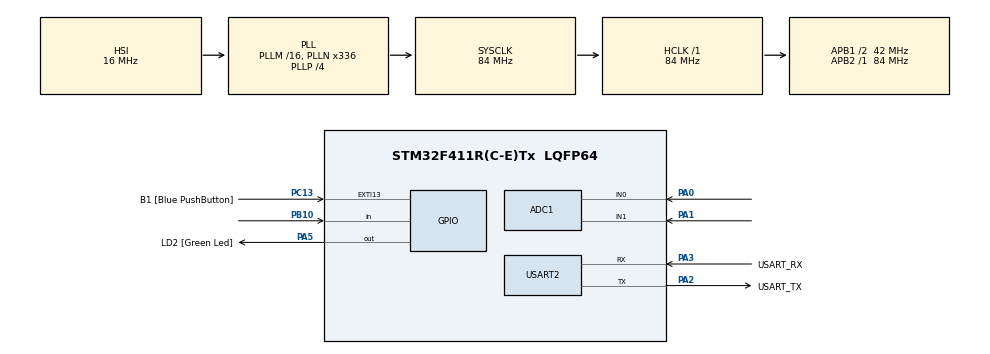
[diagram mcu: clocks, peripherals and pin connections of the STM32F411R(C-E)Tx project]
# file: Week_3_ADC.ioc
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ADC1.Channel-0\#ChannelRegularConversion=ADC_CHANNEL_1
ADC1.NbrOfConversionFlag=1
ADC1.Rank-0\#ChannelRegularConversion=1
ADC1.SamplingTime-0\#ChannelRegularConversion=ADC_SAMPLETIME_3CYCLES
ADC1.master=1
Mcu.Family=STM32F4
Mcu.Name=STM32F411R(C-E)Tx
Mcu.Package=LQFP64
NVIC.PriorityGroup=NVIC_PRIORITYGROUP_0
PA0-WKUP.Signal=ADCx_IN0
PA1.Signal=ADCx_IN1
PA13.GPIO_Label=TMS
PA13.Mode=Serial_Wire
PA13.Signal=SYS_JTMS-SWDIO
PA14.GPIO_Label=TCK
PA14.Mode=Serial_Wire
PA14.Signal=SYS_JTCK-SWCLK
PA2.GPIO_Label=USART_TX
PA2.Mode=Asynchronous
PA2.Signal=USART2_TX
PA3.GPIO_Label=USART_RX
PA3.Mode=Asynchronous
PA3.Signal=USART2_RX
PA5.GPIO_Label=LD2 [Green Led]
PA5.Signal=GPIO_Output
PB10.Signal=GPIO_Input
PB3.GPIO_Label=SWO
PB3.Signal=SYS_JTDO-SWO
PC13-ANTI_TAMP.GPIO_Label=B1 [Blue PushButton]
PC13-ANTI_TAMP.GPIO_ModeDefaultEXTI=GPIO_MODE_IT_FALLING
PC13-ANTI_TAMP.Signal=GPXTI13
PC14-OSC32_IN.Mode=LSE-External-Oscillator
PC14-OSC32_IN.Signal=RCC_OSC32_IN
PC15-OSC32_OUT.Mode=LSE-External-Oscillator
PC15-OSC32_OUT.Signal=RCC_OSC32_OUT
PH0\ -\ OSC_IN.Mode=HSE-External-Clock-Source
PH0\ -\ OSC_IN.Signal=RCC_OSC_IN
PH1\ -\ OSC_OUT.Mode=HSE-External-Clock-Source
PH1\ -\ OSC_OUT.Signal=RCC_OSC_OUT
ProjectManager.HeapSize=0x200
ProjectManager.StackSize=0x400
ProjectManager.TargetToolchain=STM32CubeIDE
RCC.48MHZClocksFreq_Value=84000000
RCC.AHBFreq_Value=84000000
RCC.APB1CLKDivider=RCC_HCLK_DIV2
RCC.APB1Freq_Value=42000000
RCC.APB1TimFreq_Value=84000000
RCC.APB2Freq_Value=84000000
RCC.APB2TimFreq_Value=84000000
RCC.CortexFreq_Value=84000000
RCC.FLatency-AdvancedSettings=FLASH_LATENCY_2
RCC.HCLKFreq_Value=84000000
RCC.HSE_VALUE=8000000
RCC.HSI_VALUE=16000000
RCC.PLLN=336
RCC.PLLP=RCC_PLLP_DIV4
RCC.SYSCLKFreq_VALUE=84000000
RCC.SYSCLKSource=RCC_SYSCLKSOURCE_PLLCLK
RCC.VCOOutputFreq_Value=336000000
SH.ADCx_IN0.0=ADC1_IN0,IN0
SH.ADCx_IN1.0=ADC1_IN1,IN1
USART2.VirtualMode=VM_ASYNC
VP_ADC1_TempSens_Input.Mode=IN-TempSens
board=NUCLEO-F411RE

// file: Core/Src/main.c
/* USER CODE BEGIN Header */
/**
 ******************************************************************************
 * @file           : main.c
 * @brief          : Main program body
 ******************************************************************************
 * @attention
 *
 * <h2><center>&copy; Copyright (c) 2021 STMicroelectronics.
 * All rights reserved.</center></h2>
 *
 * This software component is licensed by ST under BSD 3-Clause license,
 * the "License"; You may not use this file except in compliance with the
 * License. You may obtain a copy of the License at:
 *                        opensource.org/licenses/BSD-3-Clause
 *
 ******************************************************************************
 */
/* USER CODE END Header */
#include "main.h"

ADC_HandleTypeDef hadc1;

UART_HandleTypeDef huart2;

/* USER CODE BEGIN PV */
uint16_t adcdata[2] = { 0 };

typedef struct {
	ADC_ChannelConfTypeDef Config;
	uint16_t data;
} ADCStructure;

ADCStructure ADCChannel[3] = { 0 };
uint8_t ADCMode = 0;
uint8_t CheckButton[2] = {};
uint32_t TimeStamp = 0;
float ADCOutputCoverted = 0;

/* USER CODE END PV */

void SystemClock_Config(void);
static void MX_GPIO_Init(void);
static void MX_USART2_UART_Init(void);
static void MX_ADC1_Init(void);
/* USER CODE BEGIN PFP */
void ADCPollingMethodInit();
void ADCPollingMethodUpdate();
/* USER CODE END PFP */

int main(void)
{

  /* MCU Configuration--------------------------------------------------------*/

  /* Reset of all peripherals, Initializes the Flash interface and the Systick. */
  HAL_Init();

  /* Configure the system clock */
  SystemClock_Config();

  /* Initialize all configured peripherals */
  MX_GPIO_Init();
  MX_USART2_UART_Init();
  MX_ADC1_Init();
  /* USER CODE BEGIN 2 */
	ADCPollingMethodInit();

  /* USER CODE END 2 */

  /* Infinite loop */
	while (1) {

    /* USER CODE BEGIN 3 */

		ADCPollingMethodUpdate();

		if (HAL_GetTick() - TimeStamp >= 100)
		{
			TimeStamp = HAL_GetTick();
			CheckButton[0] = HAL_GPIO_ReadPin(GPIOB, GPIO_PIN_10);
			if (CheckButton[0] == 0 && CheckButton[1] == 1)
			{
				if (ADCMode == 0)
				{
					ADCMode = 1;
				}
				else if (ADCMode == 1)
				{
					ADCMode = 0;
				}
			}
			CheckButton[1] = CheckButton[0];
		}

		if (ADCMode == 0)
		{
			ADCOutputCoverted = ((ADCChannel[0].data * 3.3 * 1000.0) / 4096.0);
		}
		else if (ADCMode == 1)
		{
			ADCOutputCoverted = ((((ADCChannel[2].data * 3.3 / 4096.0) - 0.76) / 0.0025) + 25.0);
		}
	}
  /* USER CODE END 3 */
}

void SystemClock_Config(void)
{
  RCC_OscInitTypeDef RCC_OscInitStruct = {0};
  RCC_ClkInitTypeDef RCC_ClkInitStruct = {0};

  /** Configure the main internal regulator output voltage
  */
  __HAL_RCC_PWR_CLK_ENABLE();
  __HAL_PWR_VOLTAGESCALING_CONFIG(PWR_REGULATOR_VOLTAGE_SCALE1);
  /** Initializes the RCC Oscillators according to the specified parameters
  * in the RCC_OscInitTypeDef structure.
  */
  RCC_OscInitStruct.OscillatorType = RCC_OSCILLATORTYPE_HSI;
  RCC_OscInitStruct.HSIState = RCC_HSI_ON;
  RCC_OscInitStruct.HSICalibrationValue = RCC_HSICALIBRATION_DEFAULT;
  RCC_OscInitStruct.PLL.PLLState = RCC_PLL_ON;
  RCC_OscInitStruct.PLL.PLLSource = RCC_PLLSOURCE_HSI;
  RCC_OscInitStruct.PLL.PLLM = 16;
  RCC_OscInitStruct.PLL.PLLN = 336;
  RCC_OscInitStruct.PLL.PLLP = RCC_PLLP_DIV4;
  RCC_OscInitStruct.PLL.PLLQ = 4;
  if (HAL_RCC_OscConfig(&RCC_OscInitStruct) != HAL_OK)
  {
    Error_Handler();
  }
  /** Initializes the CPU, AHB and APB buses clocks
  */
  RCC_ClkInitStruct.ClockType = RCC_CLOCKTYPE_HCLK|RCC_CLOCKTYPE_SYSCLK
                              |RCC_CLOCKTYPE_PCLK1|RCC_CLOCKTYPE_PCLK2;
  RCC_ClkInitStruct.SYSCLKSource = RCC_SYSCLKSOURCE_PLLCLK;
  RCC_ClkInitStruct.AHBCLKDivider = RCC_SYSCLK_DIV1;
  RCC_ClkInitStruct.APB1CLKDivider = RCC_HCLK_DIV2;
  RCC_ClkInitStruct.APB2CLKDivider = RCC_HCLK_DIV1;

  if (HAL_RCC_ClockConfig(&RCC_ClkInitStruct, FLASH_LATENCY_2) != HAL_OK)
  {
    Error_Handler();
  }
}

static void MX_ADC1_Init(void)
{

  ADC_ChannelConfTypeDef sConfig = {0};

  /** Configure the global features of the ADC (Clock, Resolution, Data Alignment and number of conversion)
  */
  hadc1.Instance = ADC1;
  hadc1.Init.ClockPrescaler = ADC_CLOCK_SYNC_PCLK_DIV4;
  hadc1.Init.Resolution = ADC_RESOLUTION_12B;
  hadc1.Init.ScanConvMode = DISABLE;
  hadc1.Init.ContinuousConvMode = DISABLE;
  hadc1.Init.DiscontinuousConvMode = DISABLE;
  hadc1.Init.ExternalTrigConvEdge = ADC_EXTERNALTRIGCONVEDGE_NONE;
  hadc1.Init.ExternalTrigConv = ADC_SOFTWARE_START;
  hadc1.Init.DataAlign = ADC_DATAALIGN_RIGHT;
  hadc1.Init.NbrOfConversion = 1;
  hadc1.Init.DMAContinuousRequests = DISABLE;
  hadc1.Init.EOCSelection = ADC_EOC_SINGLE_CONV;
  if (HAL_ADC_Init(&hadc1) != HAL_OK)
  {
    Error_Handler();
  }
  /** Configure for the selected ADC regular channel its corresponding rank in the sequencer and its sample time.
  */
  sConfig.Channel = ADC_CHANNEL_1;
  sConfig.Rank = 1;
  sConfig.SamplingTime = ADC_SAMPLETIME_3CYCLES;
  if (HAL_ADC_ConfigChannel(&hadc1, &sConfig) != HAL_OK)
  {
    Error_Handler();
  }

}

static void MX_USART2_UART_Init(void)
{

  huart2.Instance = USART2;
  huart2.Init.BaudRate = 115200;
  huart2.Init.WordLength = UART_WORDLENGTH_8B;
  huart2.Init.StopBits = UART_STOPBITS_1;
  huart2.Init.Parity = UART_PARITY_NONE;
  huart2.Init.Mode = UART_MODE_TX_RX;
  huart2.Init.HwFlowCtl = UART_HWCONTROL_NONE;
  huart2.Init.OverSampling = UART_OVERSAMPLING_16;
  if (HAL_UART_Init(&huart2) != HAL_OK)
  {
    Error_Handler();
  }

}

static void MX_GPIO_Init(void)
{
  GPIO_InitTypeDef GPIO_InitStruct = {0};

  /* GPIO Ports Clock Enable */
  __HAL_RCC_GPIOC_CLK_ENABLE();
  __HAL_RCC_GPIOH_CLK_ENABLE();
  __HAL_RCC_GPIOA_CLK_ENABLE();
  __HAL_RCC_GPIOB_CLK_ENABLE();

  /*Configure GPIO pin Output Level */
  HAL_GPIO_WritePin(LD2_GPIO_Port, LD2_Pin, GPIO_PIN_RESET);

  /*Configure GPIO pin : B1_Pin */
  GPIO_InitStruct.Pin = B1_Pin;
  GPIO_InitStruct.Mode = GPIO_MODE_IT_FALLING;
  GPIO_InitStruct.Pull = GPIO_NOPULL;
  HAL_GPIO_Init(B1_GPIO_Port, &GPIO_InitStruct);

  /*Configure GPIO pin : LD2_Pin */
  GPIO_InitStruct.Pin = LD2_Pin;
  GPIO_InitStruct.Mode = GPIO_MODE_OUTPUT_PP;
  GPIO_InitStruct.Pull = GPIO_NOPULL;
  GPIO_InitStruct.Speed = GPIO_SPEED_FREQ_LOW;
  HAL_GPIO_Init(LD2_GPIO_Port, &GPIO_InitStruct);

  /*Configure GPIO pin : PB10 */
  GPIO_InitStruct.Pin = GPIO_PIN_10;
  GPIO_InitStruct.Mode = GPIO_MODE_INPUT;
  GPIO_InitStruct.Pull = GPIO_NOPULL;
  HAL_GPIO_Init(GPIOB, &GPIO_InitStruct);

}

/* USER CODE BEGIN 4 */
void ADCPollingMethodInit() {
	//config all ADC Channel
	ADCChannel[0].Config.Channel = ADC_CHANNEL_0;
	ADCChannel[0].Config.Rank = 1;
	ADCChannel[0].Config.SamplingTime = ADC_SAMPLETIME_3CYCLES;

	ADCChannel[1].Config.Channel = ADC_CHANNEL_1;
	ADCChannel[1].Config.Rank = 1;
	ADCChannel[1].Config.SamplingTime = ADC_SAMPLETIME_3CYCLES;

	ADCChannel[2].Config.Channel = ADC_CHANNEL_TEMPSENSOR;
	ADCChannel[2].Config.Rank = 1;
	ADCChannel[2].Config.SamplingTime = ADC_SAMPLETIME_3CYCLES;
}
//Polling Method
void ADCPollingMethodUpdate() {
	//Read all 3 Channel
	for (int i = 0; i < 3; i++) {
		// Select Channel
		HAL_ADC_ConfigChannel(&hadc1, &ADCChannel[i].Config);
		// Convert , Sampling
		HAL_ADC_Start(&hadc1);
		// Wait ADC
		HAL_ADC_PollForConversion(&hadc1, 10);
		// Get Value
		ADCChannel[i].data = HAL_ADC_GetValue(&hadc1);
		// Stop
		HAL_ADC_Stop(&hadc1);
	}
}
/* USER CODE END 4 */

void Error_Handler(void)
{
	__disable_irq();
	while (1) {
	}
}

/************************ (C) COPYRIGHT STMicroelectronics *****END OF FILE****/
